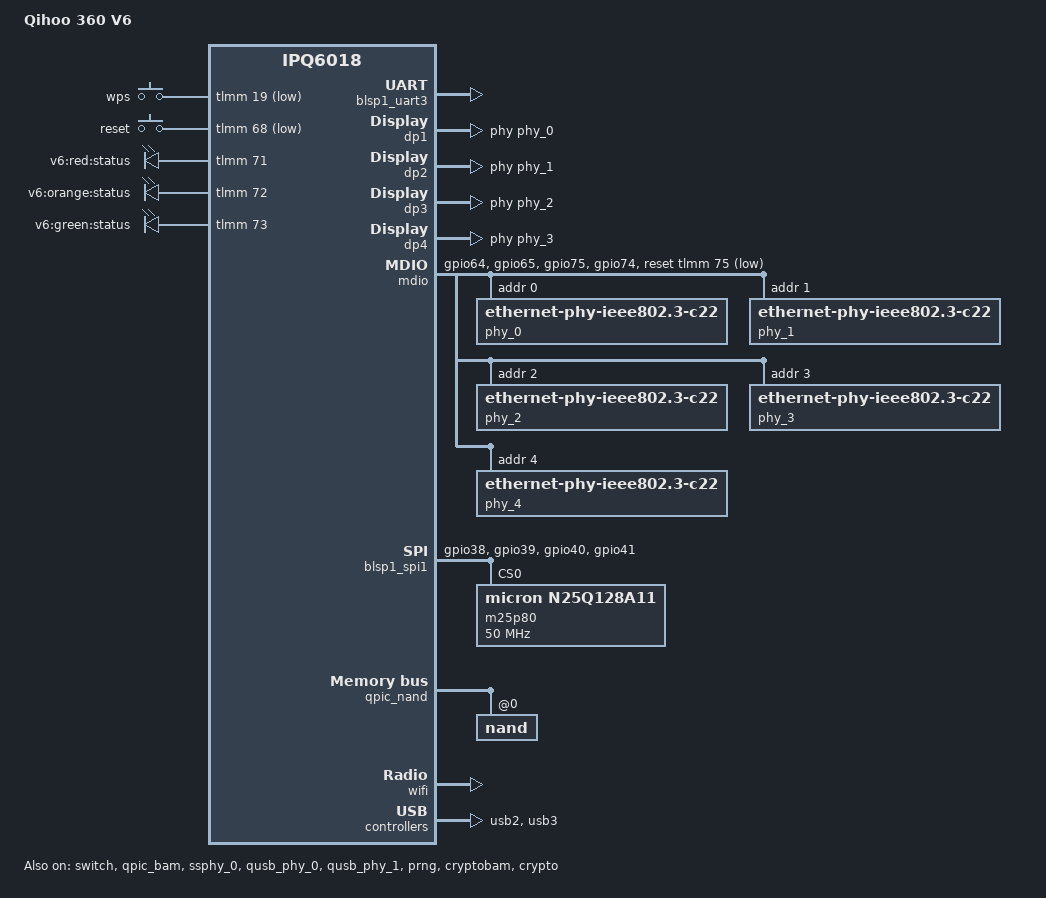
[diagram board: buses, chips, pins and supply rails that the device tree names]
// SPDX-License-Identifier: (GPL-2.0+)

/dts-v1/;

#include "ipq6018-512m.dtsi"
#include "ipq6018-ess.dtsi"
#include "ipq6018-cpr-regulator.dtsi"
#include "ipq6018-nss.dtsi"


#include <dt-bindings/input/input.h>
#include <dt-bindings/gpio/gpio.h>
#include <dt-bindings/leds/common.h>

/ {
    model = "Qihoo 360 V6";
	compatible = "qihoo,v6", "qcom,ipq6018";

	aliases {
		serial0 = &blsp1_uart3;
		led-boot = &led_system_orange;
		led-failsafe = &led_system_red;
		led-running = &led_system_green;
		led-upgrade = &led_system_orange;
		ethernet0 = &dp1;
		ethernet1 = &dp2;
		ethernet2 = &dp3;
		ethernet3 = &dp4;
	};

	chosen {
		bootargs-append = " root=/dev/ubiblock0_1 swiotlb=1 coherent_pool=2M";
	};


    keys {
        compatible = "gpio-keys";

        wps {
            label = "wps";
			gpios = <&tlmm 19 GPIO_ACTIVE_LOW>;
			linux,code = <KEY_WPS_BUTTON>;
			linux,input-type = <0x01>;
            debounce-interval = <0x3c>;
        };

        reset {
            label = "reset";
			gpios = <&tlmm 68 GPIO_ACTIVE_LOW>;
			linux,code = <KEY_RESTART>;
			linux,input-type = <0x01>;
            debounce-interval = <0x3c>;
        };
    };

    leds {
		compatible = "gpio-leds";
		pinctrl-0 = <&leds_pins>;
		pinctrl-names = "default";

		led_system_red: system-red {
			label = "v6:red:status";
			gpios = <&tlmm 71 GPIO_ACTIVE_HIGH>;
		};

		led_system_orange: system-orange {
			label = "v6:orange:status";
			gpios = <&tlmm 72 GPIO_ACTIVE_HIGH>;
		};

		led_system_green: system-green {
			label = "v6:green:status";
			gpios = <&tlmm 73 GPIO_ACTIVE_HIGH>;
		};
	};
};

&blsp1_uart3 {
	pinctrl-0 = <&serial_3_pins>;
	pinctrl-names = "default";
	status = "okay";
};

&tlmm {
	//compatible = "qcom,ipq6000-pinctrl";
	spi_0_pins: spi-0-pins {
		mux {
			pins = "gpio38", "gpio39", "gpio40", "gpio41";
			function = "blsp0_spi";
			drive-strength = <0x08>;
			bias-pull-down;
		};
	};

	button_pins: button_pins {
        wps_button {
            pins = "gpio19";
            function = "gpio";
            drive-strength = <0x08>;
            bias-pull-up;
        };

        reset_button {
            pins = "gpio68";
            function = "gpio";
            drive-strength = <0x08>;
            bias-pull-up;
        };
    };

    mdio_pins: mdio-pins {
		mux_0 {
			pins = "gpio64";
			function = "mdc";
			drive-strength = <0x08>;
			bias-pull-up;
		};
		mux_1 {
			pins = "gpio65";
			function = "mdio";
			drive-strength = <0x08>;
			bias-pull-up;
		};
		mux_2 {
			pins = "gpio75";
			function = "gpio";
			bias-pull-up;
		};
		mux_3 {
			pins = "gpio74";
			function = "gpio";
			bias-pull-up;
		};
	};

	leds_pins: leds_pins {
		mux {
			pins = "gpio71", "gpio72", "gpio73";
			function = "gpio";
			drive-strength = <8>;
			bias-pull-down;
		};
	};
};

&dp1 {
	phy-handle = <&phy_0>;
	status = "okay";
	qcom,id = <1>;
};

&dp2 {
	phy-handle = <&phy_1>;
	status = "okay";
	qcom,id = <2>;
};

&dp3 {
	phy-handle = <&phy_2>;
	status = "okay";
	qcom,id = <3>;
};

&dp4 {
	phy-handle = <&phy_3>;
	status = "okay";
	qcom,id = <4>;
};

&edma {
	status = "okay";
};

&mdio {
	status = "okay";

	pinctrl-0 = <&mdio_pins>;
	pinctrl-names = "default";
	reset-gpios = <&tlmm 75 GPIO_ACTIVE_LOW>;
	
	phy_0: ethernet-phy@0 {
		compatible = "ethernet-phy-ieee802.3-c22";
		reg = <0>;
	};

	phy_1: ethernet-phy@1 {
		compatible = "ethernet-phy-ieee802.3-c22";
		reg = <1>;
	};

	phy_2: ethernet-phy@2 {
		compatible = "ethernet-phy-ieee802.3-c22";
		reg = <2>;
	};

	phy_3: ethernet-phy@3 {
		compatible = "ethernet-phy-ieee802.3-c22";
		reg = <3>;
	};
	
	phy_4: ethernet-phy@4 {
		compatible = "ethernet-phy-ieee802.3-c22";
		reg = <4>;
	};
};

&switch {
	status = "okay";

	switch_lan_bmp = <0x1e>;
	switch_wan_bmp = <0x20>;
	switch_mac_mode = <MAC_MODE_DISABLED>; /* MAC mode for UNIPHY instance 0 */
	switch_mac_mode1 = <MAC_MODE_DISABLED>; /* MAC mode for UNIPHY instance 1 */
	switch_mac_mode2 = <MAC_MODE_DISABLED>; /* MAC mode for UNIPHY instance 2 */

	qcom,port_phyinfo {
		port@0 {
			port_id = <1>;
			phy_address = <0>;
		};

		port@1 {
			port_id = <2>;
			phy_address = <1>;
		};

		port@2 {
			port_id = <3>;
			phy_address = <2>;
		};

		port@3 {
			port_id = <4>;
			phy_address = <3>;
		};

		port@4 {
			port_id = <5>;
			phy_address = <4>;
		};
	};
};

&qpic_bam {
	status = "okay";
};

&blsp1_spi1 {
	cs-select = <0>;
	pinctrl-0 = <&spi_0_pins>;
	pinctrl-names = "default";
	status = "okay";

	m25p80@0 {
		#address-cells = <1>;
		#size-cells = <1>;
		reg = <0>;
		compatible = "micron,n25q128a11", "jedec,spi-nor";
		spi-max-frequency = <50000000>;
	};
};

&qpic_nand {
	status = "okay";

	nand@0 {
		reg = <0>;
		nand-ecc-strength = <4>;
		nand-ecc-step-size = <512>;
		nand-bus-width = <0x08>;
	};
};

&wifi {
	status = "okay";
	qcom,ath11k-calibration-variant = "Qihoo-V6";
	qcom,ath11k-fw-memory-mode = <1>;
};

&ssphy_0 {
	status = "okay";
};

&qusb_phy_0 {
	status = "okay";
};

&qusb_phy_1 {
	status = "okay";
};

&usb2 {
	status = "okay";
};

&usb3 {
	status = "okay";
};

&prng {
	status = "okay";
};

&cryptobam {
	status = "okay";
};

&crypto {
	status = "okay";
};

&qpic_bam {
	status = "okay";
};
